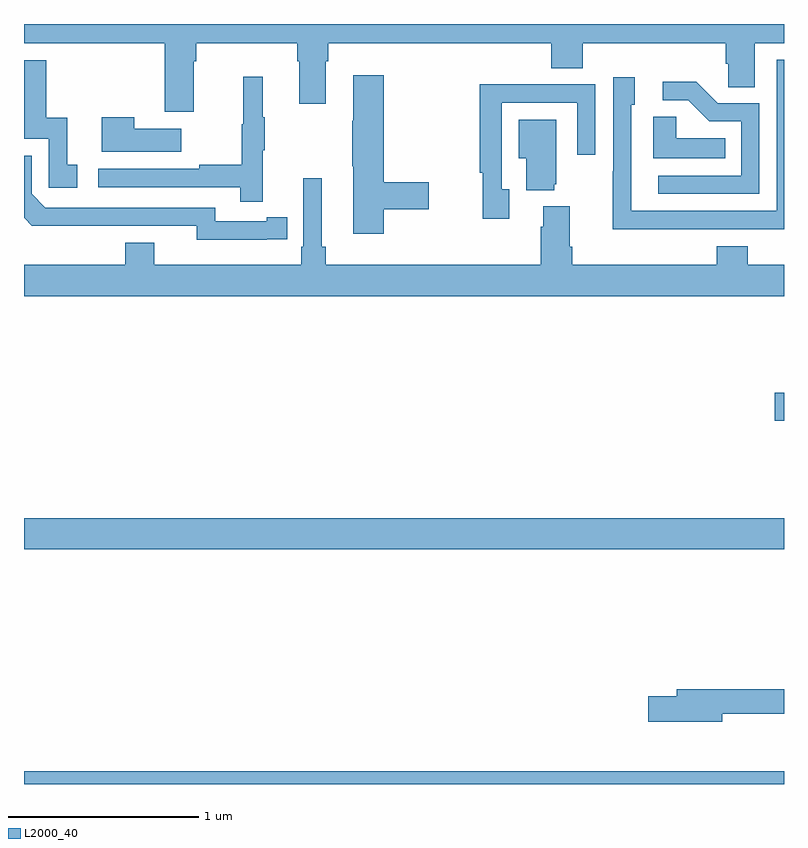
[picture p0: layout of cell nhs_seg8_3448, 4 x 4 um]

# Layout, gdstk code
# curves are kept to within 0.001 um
import gdstk
lib = gdstk.Library(unit=1e-6, precision=1e-09)
def R(c, l, rs):  # rectangles x0, y0, x1, y1
    for r in rs: c.add(gdstk.rectangle(r[:2], r[2:], *l))
def P(c, l, *ps):  # polygons
    for p in ps: c.add(gdstk.Polygon(p, *l))
L2000_40 = (2000, 40)

nhs_seg8_3448 = lib.new_cell('nhs_seg8_3448')
R(nhs_seg8_3448, L2000_40, [(323,1145.9,327,1145.968), (323,1147.136,327,1147.3), (326.952,1147.811,327,1147.958)])
P(nhs_seg8_3448, L2000_40, [(323.893,1149.704),(323.906,1149.704),(323.906,1149.8),(324.437,1149.8),(324.437,1149.704),(324.449,1149.704),(324.449,1149.48),(324.589,1149.48),(324.589,1149.704),(324.602,1149.704),(324.602,1149.8),(325.775,1149.8),(325.775,1149.667),(325.94,1149.667),(325.94,1149.8),(326.693,1149.8),(326.693,1149.691),(326.706,1149.691),(326.706,1149.568),(326.845,1149.568),(326.845,1149.8),(327,1149.8),(327,1149.9),(323,1149.9),(323,1149.8),(323.741,1149.8),(323.741,1149.438),(323.893,1149.438)],
  [(326.561,1148.82),(327,1148.82),(327,1149.711),(326.961,1149.711),(326.961,1148.916),(326.196,1148.916),(326.196,1149.474),(326.215,1149.474),(326.215,1149.619),(326.1,1149.619),(326.1,1149.125),(326.098,1149.125),(326.098,1148.819),(326.561,1148.819)],
  [(323.281,1149.159),(323.228,1149.159),(323.228,1149.406),(323.117,1149.406),(323.117,1149.708),(323,1149.708),(323,1149.612),(323.001,1149.612),(323.001,1149.297),(323.13,1149.297),(323.13,1149.039),(323.281,1149.039)],
  [(324.893,1148.926),(325.129,1148.926),(325.129,1149.068),(324.893,1149.068),(324.893,1149.631),(324.734,1149.631),(324.734,1149.392),(324.727,1149.392),(324.727,1149.151),(324.734,1149.151),(324.734,1148.796),(324.893,1148.796)],
  [(324.257,1149.235),(324.268,1149.235),(324.268,1149.409),(324.257,1149.409),(324.257,1149.622),(324.154,1149.622),(324.154,1149.372),(324.147,1149.372),(324.147,1149.158),(323.923,1149.158),(323.923,1149.138),(323.391,1149.138),(323.391,1149.042),(324.139,1149.042),(324.139,1148.964),(324.257,1148.964)],
  [(326.871,1149.483),(326.652,1149.483),(326.539,1149.596),(326.361,1149.596),(326.361,1149.498),(326.495,1149.498),(326.606,1149.387),(326.775,1149.387),(326.775,1149.102),(326.337,1149.102),(326.337,1149.006),(326.871,1149.006)],
  [(325.555,1149.03),(325.515,1149.03),(325.515,1149.486),(325.911,1149.486),(325.911,1149.213),(326.007,1149.213),(326.007,1149.582),(325.691,1149.582),(325.691,1149.584),(325.399,1149.584),(325.399,1149.118),(325.414,1149.118),(325.414,1148.874),(325.555,1148.874)],
  [(326.69,1149.298),(326.433,1149.298),(326.433,1149.413),(326.312,1149.413),(326.312,1149.194),(326.69,1149.194)],
  [(323.827,1149.349),(323.579,1149.349),(323.579,1149.409),(323.408,1149.409),(323.408,1149.227),(323.827,1149.227)],
  [(325.79,1149.057),(325.801,1149.057),(325.801,1149.397),(325.604,1149.397),(325.604,1149.194),(325.643,1149.194),(325.643,1149.026),(325.79,1149.026)],
  [(324.278,1148.766),(324.386,1148.766),(324.386,1148.882),(324.278,1148.882),(324.278,1148.862),(324.006,1148.862),(324.006,1148.934),(323.112,1148.934),(323.04,1149.006),(323.04,1149.207),(323,1149.207),(323,1148.879),(323.042,1148.837),(323.91,1148.838),(323.91,1148.765)],
  [(327,1148.632),(326.81,1148.632),(326.81,1148.731),(326.645,1148.731),(326.645,1148.632),(325.886,1148.632),(325.886,1148.728),(325.873,1148.728),(325.873,1148.941),(325.733,1148.941),(325.733,1148.834),(325.721,1148.834),(325.721,1148.632),(324.587,1148.632),(324.587,1148.728),(324.568,1148.728),(324.568,1149.088),(324.471,1149.088),(324.471,1148.728),(324.458,1148.728),(324.458,1148.632),(323.686,1148.632),(323.686,1148.749),(323.534,1148.749),(323.534,1148.632),(323,1148.632),(323,1148.468),(327,1148.468)],
  [(326.674,1146.27),(327,1146.27),(327,1146.398),(326.435,1146.398),(326.435,1146.362),(326.286,1146.362),(326.286,1146.227),(326.674,1146.227)])

lib.write_gds('nhs_seg8_3448.gds')
